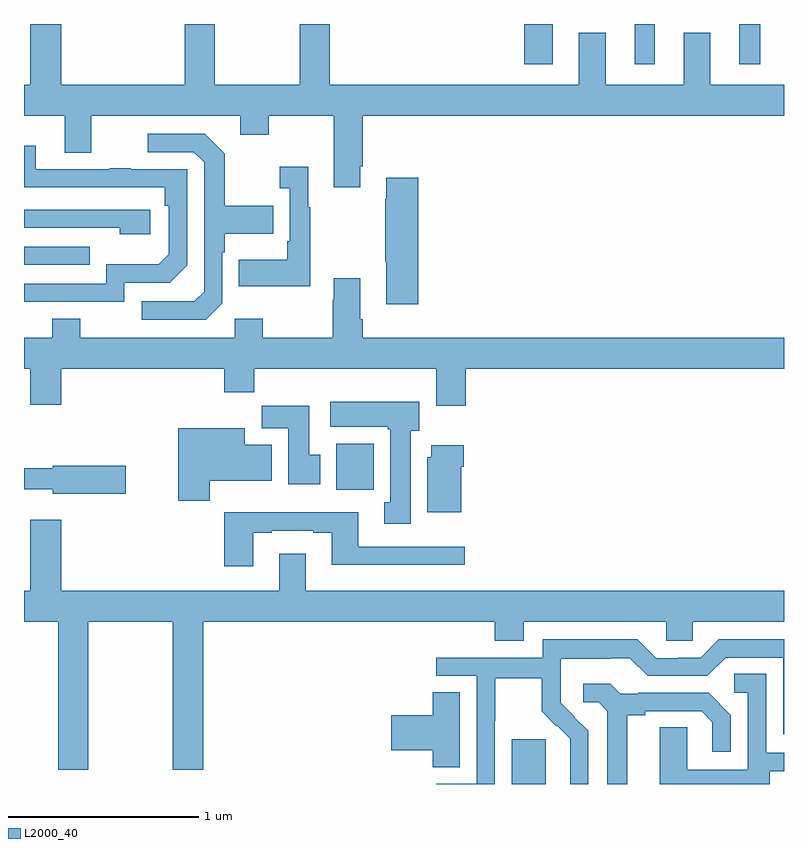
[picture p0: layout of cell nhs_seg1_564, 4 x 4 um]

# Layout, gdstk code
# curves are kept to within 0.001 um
import gdstk
lib = gdstk.Library(unit=1e-6, precision=1e-09)
def R(c, l, rs):  # rectangles x0, y0, x1, y1
    for r in rs: c.add(gdstk.rectangle(r[:2], r[2:], *l))
def P(c, l, *ps):  # polygons
    for p in ps: c.add(gdstk.Polygon(p, *l))
L2000_40 = (2000, 40)

nhs_seg1_564 = lib.new_cell('nhs_seg1_564')
R(nhs_seg1_564, L2000_40, [(143.567,564.199,143.746,564.435), (142.643,565.748,142.84,565.99), (141,566.931,141.347,567.027), (143.633,567.987,143.782,568.199), (144.215,567.987,144.319,568.199), (144.764,567.987,144.874,568.199)])
P(nhs_seg1_564, L2000_40, [(145,567.88),(144.613,567.88),(144.613,568.153),(144.473,568.153),(144.473,567.88),(144.061,567.88),(144.061,568.153),(143.921,568.153),(143.921,567.88),(142.61,567.88),(142.61,568.199),(142.45,568.199),(142.45,567.88),(142.005,567.88),(142.005,568.199),(141.845,568.199),(141.845,567.88),(141.196,567.88),(141.196,568.199),(141.032,568.199),(141.032,567.88),(141,567.88),(141,567.716),(141.215,567.716),(141.215,567.522),(141.355,567.522),(141.355,567.716),(142.139,567.716),(142.139,567.617),(142.287,567.617),(142.287,567.716),(142.631,567.716),(142.631,567.339),(142.771,567.339),(142.771,567.451),(142.784,567.451),(142.784,567.716),(145,567.716)],
  [(142.044,566.73),(142.044,566.999),(142.057,566.999),(142.057,567.095),(142.313,567.095),(142.313,567.243),(142.057,567.243),(142.057,567.515),(141.951,567.621),(141.651,567.621),(141.651,567.525),(141.894,567.525),(141.948,567.471),(141.948,566.79),(141.897,566.739),(141.621,566.739),(141.621,566.643),(141.957,566.643)],
  [(141.528,566.838),(141.768,566.838),(141.858,566.928),(141.858,567.435),(141.563,567.435),(141.563,567.44),(141.451,567.44),(141.451,567.435),(141.061,567.435),(141.061,567.559),(141,567.559),(141,567.34),(141.742,567.339),(141.742,567.242),(141.762,567.242),(141.762,566.988),(141.709,566.935),(141.432,566.935),(141.432,566.832),(141,566.832),(141,566.736),(141.528,566.736)],
  [(142.507,567.235),(142.495,567.235),(142.495,567.448),(142.347,567.448),(142.347,567.335),(142.398,567.335),(142.398,567.055),(142.386,567.055),(142.386,566.959),(142.129,566.959),(142.129,566.819),(142.507,566.819)],
  [(143.075,567.391),(142.907,567.391),(142.907,567.278),(142.9,567.278),(142.9,566.947),(142.907,566.947),(142.907,566.724),(143.075,566.724)],
  [(141.664,567.222),(141,567.222),(141,567.126),(141.503,567.126),(141.503,567.092),(141.664,567.092)],
  [(143.324,566.384),(145,566.384),(145,566.548),(142.784,566.548),(142.784,566.644),(142.771,566.644),(142.771,566.86),(142.631,566.86),(142.631,566.747),(142.624,566.747),(142.624,566.548),(142.257,566.548),(142.257,566.647),(142.11,566.647),(142.11,566.548),(141.297,566.548),(141.297,566.647),(141.149,566.647),(141.149,566.548),(141,566.548),(141,566.384),(141.032,566.384),(141.032,566.196),(141.196,566.196),(141.196,566.384),(142.055,566.384),(142.055,566.26),(142.211,566.26),(142.211,566.384),(143.171,566.384),(143.171,566.19),(143.324,566.19)],
  [(143.035,566.058),(143.08,566.058),(143.08,566.212),(142.611,566.212),(142.611,566.078),(142.915,566.078),(142.915,566.065),(142.928,566.065),(142.928,565.682),(142.895,565.682),(142.895,565.569),(143.035,565.569)],
  [(142.558,565.932),(142.501,565.932),(142.501,566.191),(142.252,566.191),(142.252,566.072),(142.391,566.072),(142.391,565.776),(142.558,565.776)],
  [(141.978,565.796),(142.303,565.796),(142.303,565.984),(142.162,565.984),(142.162,566.071),(141.812,566.071),(141.812,565.689),(141.978,565.689)],
  [(143.302,565.868),(143.315,565.868),(143.315,565.981),(143.144,565.981),(143.144,565.92),(143.123,565.92),(143.123,565.628),(143.302,565.628)],
  [(141.535,565.874),(141.15,565.874),(141.15,565.861),(141,565.861),(141,565.751),(141.15,565.751),(141.15,565.727),(141.535,565.727)],
  [(142.207,565.521),(142.303,565.521),(142.303,565.533),(142.523,565.533),(142.523,565.521),(142.619,565.521),(142.619,565.352),(143.32,565.352),(143.32,565.449),(142.759,565.449),(142.759,565.63),(142.055,565.63),(142.055,565.344),(142.207,565.344)],
  [(141.339,565.052),(141.784,565.052),(141.784,564.273),(141.944,564.273),(141.944,565.052),(143.477,565.052),(143.477,564.953),(143.629,564.953),(143.629,565.052),(144.381,565.052),(144.381,564.954),(144.519,564.954),(144.519,565.052),(145,565.052),(145,565.216),(142.483,565.216),(142.483,565.411),(142.343,565.411),(142.343,565.216),(141.196,565.216),(141.196,565.591),(141.032,565.591),(141.032,565.216),(141,565.216),(141,565.052),(141.179,565.052),(141.179,564.273),(141.339,564.273)],
  [(143.478,564.532),(143.481,564.532),(143.481,564.756),(143.725,564.756),(143.725,564.581),(143.802,564.504),(143.805,564.507),(143.876,564.437),(143.876,564.314),(143.874,564.314),(143.874,564.199),(143.97,564.199),(143.97,564.478),(143.824,564.626),(143.824,564.723),(143.826,564.723),(143.826,564.857),(144.089,564.857),(144.089,564.861),(144.189,564.861),(144.282,564.768),(144.597,564.768),(144.693,564.864),(144.996,564.864),(144.996,564.462),(145,564.462),(145,564.96),(144.657,564.96),(144.561,564.864),(144.443,564.864),(144.443,564.861),(144.327,564.861),(144.227,564.961),(143.73,564.961),(143.73,564.864),(143.169,564.864),(143.169,564.768),(143.382,564.768),(143.382,564.201),(143.169,564.201),(143.169,564.199),(143.478,564.199)],
  [(144.925,564.267),(145,564.267),(145,564.363),(144.906,564.363),(144.906,564.779),(144.738,564.779),(144.738,564.678),(144.81,564.678),(144.81,564.273),(144.492,564.273),(144.492,564.497),(144.347,564.497),(144.347,564.199),(144.925,564.199)],
  [(144.175,564.56),(144.271,564.56),(144.271,564.582),(144.566,564.582),(144.623,564.525),(144.623,564.369),(144.72,564.369),(144.72,564.562),(144.604,564.678),(144.232,564.678),(144.232,564.675),(144.138,564.675),(144.086,564.727),(143.943,564.727),(143.943,564.63),(144.024,564.63),(144.071,564.583),(144.071,564.199),(144.175,564.199)],
  [(143.293,564.683),(143.15,564.683),(143.15,564.56),(142.932,564.56),(142.932,564.377),(143.15,564.377),(143.15,564.286),(143.293,564.286)])

lib.write_gds('nhs_seg1_564.gds')
